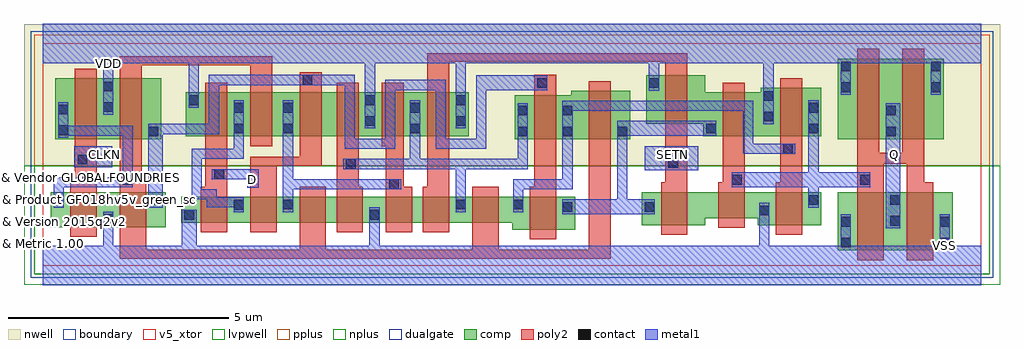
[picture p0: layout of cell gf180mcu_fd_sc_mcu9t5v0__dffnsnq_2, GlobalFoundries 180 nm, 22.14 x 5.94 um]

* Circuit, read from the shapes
.subckt gf180mcu_fd_sc_mcu9t5v0__dffnsnq_2 CLKN D Q SETN VDD VSS
XM1 VSS CLKN n1 VSUBS nfet_05v0 w=0.79u l=0.6u
XM2 n2 n1 VSS VSUBS nfet_05v0 w=0.79u l=0.6u
XM3 n3 D VSS VSUBS nfet_05v0 w=0.59u l=0.6u
XM4 n4 n2 n3 VSUBS nfet_05v0 w=0.59u l=0.6u
XM5 n5 n1 n4 VSUBS nfet_05v0 w=0.59u l=0.6u
XM6 VSS n6 n5 VSUBS nfet_05v0 w=0.59u l=0.6u
XM7 n7 n4 VSS VSUBS nfet_05v0 w=0.59u l=0.6u
XM8 n6 SETN n7 VSUBS nfet_05v0 w=0.59u l=0.6u
XM9 n8 n1 n6 VSUBS nfet_05v0 w=0.59u l=0.6u
XM10 n9 n2 n8 VSUBS nfet_05v0 w=0.75u l=0.6u
XM11 n10 SETN n9 VSUBS nfet_05v0 w=0.75u l=0.6u
XM12 VSS n11 n10 VSUBS nfet_05v0 w=0.59u l=0.6u
XM13 n11 n8 VSS VSUBS nfet_05v0 w=0.75u l=0.6u
XM14 Q n11 VSS VSUBS nfet_05v0 w=1.32u l=0.6u m=2
XM15 VDD CLKN n1 n12 pfet_05v0 w=1.38u l=0.5u
XM16 n2 n1 VDD n12 pfet_05v0 w=1.38u l=0.5u
XM17 n3 D VDD n12 pfet_05v0 w=1u l=0.5u
XM18 n4 n1 n3 n12 pfet_05v0 w=1u l=0.5u
XM19 n13 n2 n4 n12 pfet_05v0 w=1u l=0.5u
XM20 VDD n6 n13 n12 pfet_05v0 w=1u l=0.5u
XM21 n6 n4 VDD n12 pfet_05v0 w=1u l=0.5u
XM22 VDD SETN n6 n12 pfet_05v0 w=1u l=0.5u
XM23 n8 n2 n6 n12 pfet_05v0 w=1u l=0.5u
XM24 n9 n1 n8 n12 pfet_05v0 w=1.1u l=0.5u
XM25 n9 SETN VDD n12 pfet_05v0 w=1.1u l=0.5u
XM26 VDD n11 n9 n12 pfet_05v0 w=1u l=0.5u
XM27 n11 n8 VDD n12 pfet_05v0 w=1.1u l=0.5u
XM28 Q n11 VDD n12 pfet_05v0 w=1.83u l=0.5u m=2
.ends

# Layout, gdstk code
import gdstk
lib = gdstk.Library(unit=1e-6, precision=1e-09)
def R(c, l, rs):  # rectangles x0, y0, x1, y1
    for r in rs: c.add(gdstk.rectangle(r[:2], r[2:], *l))
def P(c, l, *ps):  # polygons
    for p in ps: c.add(gdstk.Polygon(p, *l))
boundary = (0, 0)
nwell = (21, 0)
comp = (22, 0)
poly2 = (30, 0)
pplus = (31, 0)
nplus = (32, 0)
contact = (33, 0)
metal1 = (34, 0)
dualgate = (55, 0)
v5_xtor = (112, 1)
lvpwell = (204, 0)

gf180mcu_fd_sc_mcu9t5v0_ = lib.new_cell('gf180mcu_fd_sc_mcu9t5v0__dffnsnq_2')
R(gf180mcu_fd_sc_mcu9t5v0_, boundary, [(0,0,21.28,5.04)])
R(gf180mcu_fd_sc_mcu9t5v0_, nwell, [(-0.43,2.265,21.71,5.47)])
R(gf180mcu_fd_sc_mcu9t5v0_, comp, [(18.035,0.345,20.635,1.665), (0.18,0.875,2.78,1.665), (0.28,2.865,2.68,4.245), (18.035,2.865,20.435,4.695), (3.24,2.93,9.66,3.93)])
P(gf180mcu_fd_sc_mcu9t5v0_, comp, [(10.64,0.815),(10.64,0.975),(3.14,0.975),(3.14,1.565),(12.08,1.565),(12.08,0.815)],
  [(10.7,2.865),(10.7,3.865),(11.98,3.865),(11.98,3.965),(13.32,3.965),(13.32,2.865)],
  [(13.58,0.915),(13.58,1.665),(17.66,1.665),(17.66,0.915),(16.22,0.915),(16.22,1.075),(15.02,1.075),(15.02,0.915)],
  [(14.98,2.93),(14.98,3.22),(13.68,3.22),(13.68,4.32),(15.02,4.32),(15.02,3.93),(16.28,3.93),(16.28,4.03),(17.66,4.03),(17.66,2.93)])
P(gf180mcu_fd_sc_mcu9t5v0_, poly2, [(0.62,0.655),(0.62,1.885),(0.72,1.885),(0.72,4.465),(1.22,4.465),(1.22,0.655)],
  [(3.58,0.755),(3.58,1.785),(3.68,1.785),(3.68,4.15),(4.18,4.15),(4.18,0.755)],
  [(4.7,0.755),(4.7,2.47),(5.82,2.47),(5.82,4.39),(6.32,4.39),(6.32,2.27),(5.3,2.27),(5.3,0.755)],
  [(6.66,0.755),(6.66,4.15),(7.16,4.15),(7.16,1.785),(7.26,1.785),(7.26,0.755)],
  [(7.78,0.755),(7.78,2.71),(7.68,2.71),(7.68,4.15),(8.18,4.15),(8.18,1.785),(8.38,1.785),(8.38,0.755)],
  [(11.04,0.595),(11.04,1.785),(11.14,1.785),(11.14,4.325),(11.64,4.325),(11.64,0.595)],
  [(1.74,0.155),(1.74,4.745),(5.2,4.745),(5.2,2.71),(4.7,2.71),(4.7,4.545),(2.24,4.545),(2.24,1.885),(2.34,1.885),(2.34,0.355),(5.82,0.355),(5.82,1.785),(6.42,1.785),(6.42,0.355),(9.74,0.355),(9.74,1.785),(10.34,1.785),(10.34,0.355),(12.38,0.355),(12.38,4.185),(12.88,4.185),(12.88,0.155)],
  [(14.02,0.695),(14.02,1.885),(14.12,1.885),(14.12,4.62),(9.22,4.62),(9.22,0.755),(8.62,0.755),(8.62,1.785),(8.72,1.785),(8.72,4.82),(14.62,4.82),(14.62,0.695)],
  [(15.32,0.855),(15.32,1.885),(15.42,1.885),(15.42,4.15),(15.92,4.15),(15.92,0.855)],
  [(16.62,0.695),(16.62,1.885),(16.72,1.885),(16.72,4.25),(17.22,4.25),(17.22,0.695)],
  [(18.475,0.125),(18.475,2.125),(18.47,2.125),(18.47,2.565),(18.475,2.565),(18.475,4.915),(18.975,4.915),(18.975,2.565),(19.495,2.565),(19.495,4.915),(19.995,4.915),(19.995,1.885),(20.195,1.885),(20.195,0.125),(19.595,0.125),(19.595,2.305),(19.075,2.305),(19.075,0.125)])
R(gf180mcu_fd_sc_mcu9t5v0_, pplus, [(-0.2,2.265,21.48,5.24)])
R(gf180mcu_fd_sc_mcu9t5v0_, nplus, [(-0.2,-0.2,21.48,2.265)])
R(gf180mcu_fd_sc_mcu9t5v0_, contact, [(18.105,0.415,18.325,0.635), (20.345,0.415,20.565,0.635), (18.105,0.885,18.325,1.105), (20.345,0.885,20.565,1.105), (19.225,0.905,19.445,1.125), (1.37,0.945,1.59,1.165), (3.21,1.045,3.43,1.265), (7.41,1.045,7.63,1.265), (16.25,1.14,16.47,1.36), (11.79,1.22,12.01,1.44), (13.65,1.22,13.87,1.44), (4.33,1.27,4.55,1.49), (5.45,1.275,5.67,1.495), (9.37,1.275,9.59,1.495), (10.67,1.275,10.89,1.495), (0.25,1.375,0.47,1.595), (2.49,1.375,2.71,1.595), (17.37,1.375,17.59,1.595), (19.225,1.375,19.445,1.595), (7.85,1.735,8.07,1.955), (1.81,1.835,2.03,2.055), (15.63,1.835,15.85,2.055), (18.545,1.835,18.765,2.055), (3.89,1.965,4.11,2.185), (6.87,2.195,7.09,2.415), (14.19,2.225,14.41,2.445), (0.79,2.295,1.01,2.515), (16.79,2.54,17.01,2.76), (2.39,2.935,2.61,3.155), (10.77,2.935,10.99,3.155), (11.79,2.935,12.01,3.155), (13.03,2.935,13.25,3.155), (19.125,2.935,19.345,3.155), (0.35,2.96,0.57,3.18), (4.33,3,4.55,3.22), (5.45,3,5.67,3.22), (8.33,3,8.55,3.22), (15.05,3,15.27,3.22), (17.37,3,17.59,3.22), (7.31,3.17,7.53,3.39), (9.37,3.17,9.59,3.39), (16.35,3.27,16.57,3.49), (10.77,3.405,10.99,3.625), (11.79,3.405,12.01,3.625), (19.125,3.405,19.345,3.625), (0.35,3.43,0.57,3.65), (4.33,3.47,4.55,3.69), (5.45,3.47,5.67,3.69), (8.33,3.47,8.55,3.69), (17.37,3.47,17.59,3.69), (1.37,3.485,1.59,3.705), (3.31,3.64,3.53,3.86), (7.31,3.64,7.53,3.86), (9.37,3.64,9.59,3.86), (16.35,3.74,16.57,3.96), (18.105,3.935,18.325,4.155), (20.145,3.935,20.365,4.155), (1.37,3.955,1.59,4.175), (13.75,4.03,13.97,4.25), (11.21,4.035,11.43,4.255), (5.89,4.1,6.11,4.32), (18.105,4.405,18.325,4.625), (20.145,4.405,20.365,4.625)])
R(gf180mcu_fd_sc_mcu9t5v0_, metal1, [(19.12,0.845,19.45,3.685), (13.655,2.165,14.86,2.71), (0.71,2.235,1.575,2.71)])
P(gf180mcu_fd_sc_mcu9t5v0_, metal1, [(0.245,1.315),(0.245,2.005),(1.805,2.005),(1.805,2.94),(0.575,2.94),(0.575,2.9),(0.345,2.9),(0.345,3.71),(0.575,3.71),(0.575,3.17),(2.035,3.17),(2.035,1.775),(0.475,1.775),(0.475,1.315)],
  [(4.325,1.21),(4.325,1.32),(3.715,1.32),(3.715,1.5),(3.37,1.5),(3.37,2.65),(4.325,2.65),(4.325,3.75),(4.555,3.75),(4.555,2.42),(3.6,2.42),(3.6,1.73),(3.94,1.73),(3.94,1.55),(4.555,1.55),(4.555,1.21)],
  [(4.63,1.77),(4.63,1.96),(3.83,1.96),(3.83,2.19),(4.89,2.19),(4.89,1.77)],
  [(5.445,1.215),(5.445,3.75),(5.675,3.75),(5.675,1.96),(8.13,1.96),(8.13,1.73),(5.675,1.73),(5.675,1.215)],
  [(9.365,1.215),(9.365,2.19),(6.81,2.19),(6.81,2.42),(8.325,2.42),(8.325,3.75),(8.555,3.75),(8.555,2.42),(10.765,2.42),(10.765,3.685),(10.995,3.685),(10.995,2.19),(9.595,2.19),(9.595,1.215)],
  [(2.385,1.315),(2.385,3.215),(3.765,3.215),(3.765,4.325),(7.075,4.325),(7.075,2.88),(7.765,2.88),(7.765,4.21),(9.135,4.21),(9.135,2.88),(9.825,2.88),(9.825,4.315),(11.435,4.315),(11.435,3.975),(10.055,3.975),(10.055,2.65),(8.905,2.65),(8.905,3.98),(7.995,3.98),(7.995,2.65),(6.845,2.65),(6.845,4.095),(3.995,4.095),(3.995,2.985),(2.715,2.985),(2.715,1.315)],
  [(11.785,1.16),(11.785,1.5),(13.025,1.5),(13.025,3.28),(15.275,3.28),(15.275,2.94),(13.255,2.94),(13.255,1.5),(13.875,1.5),(13.875,1.16)],
  [(10.665,1.215),(10.665,1.96),(11.785,1.96),(11.785,3.74),(16.115,3.74),(16.115,2.765),(17.07,2.765),(17.07,2.535),(15.885,2.535),(15.885,3.51),(12.015,3.51),(12.015,1.73),(10.895,1.73),(10.895,1.215)],
  [(17.365,1.315),(17.365,1.775),(15.625,1.775),(15.625,2.115),(17.365,2.115),(17.365,3.75),(17.595,3.75),(17.595,2.115),(18.77,2.115),(18.77,1.775),(17.595,1.775),(17.595,1.315)],
  [(0,-0.45),(0,0.45),(1.365,0.45),(1.365,1.225),(1.595,1.225),(1.595,0.45),(3.15,0.45),(3.15,1.27),(3.49,1.27),(3.49,0.45),(7.405,0.45),(7.405,1.325),(7.635,1.325),(7.635,0.45),(16.245,0.45),(16.245,1.42),(16.475,1.42),(16.475,0.45),(18.1,0.45),(18.1,1.165),(18.33,1.165),(18.33,0.45),(20.34,0.45),(20.34,1.165),(20.57,1.165),(20.57,0.45),(21.28,0.45),(21.28,-0.45)],
  [(7.305,3.11),(7.305,4.59),(3.535,4.59),(3.535,3.58),(3.305,3.58),(3.305,4.59),(1.595,4.59),(1.595,3.425),(1.365,3.425),(1.365,4.59),(0,4.59),(0,5.49),(21.28,5.49),(21.28,4.59),(20.37,4.59),(20.37,3.875),(20.14,3.875),(20.14,4.59),(18.33,4.59),(18.33,3.875),(18.1,3.875),(18.1,4.59),(16.575,4.59),(16.575,3.21),(16.345,3.21),(16.345,4.59),(13.975,4.59),(13.975,3.97),(13.745,3.97),(13.745,4.59),(9.595,4.59),(9.595,3.11),(9.365,3.11),(9.365,4.59),(7.535,4.59),(7.535,3.11)])
R(gf180mcu_fd_sc_mcu9t5v0_, dualgate, [(-0.28,-0.28,21.56,5.32)])
R(gf180mcu_fd_sc_mcu9t5v0_, v5_xtor, [(0,0,21.28,5.04)])
R(gf180mcu_fd_sc_mcu9t5v0_, lvpwell, [(-0.43,-0.43,21.71,2.265)])
gf180mcu_fd_sc_mcu9t5v0_.add(gdstk.Label('CLKN', (1.4,2.52), layer=34, texttype=10))
gf180mcu_fd_sc_mcu9t5v0_.add(gdstk.Label('D', (4.76,1.96), layer=34, texttype=10))
gf180mcu_fd_sc_mcu9t5v0_.add(gdstk.Label('Q', (19.32,2.52), layer=34, texttype=10))
gf180mcu_fd_sc_mcu9t5v0_.add(gdstk.Label('SETN', (14.28,2.52), layer=34, texttype=10))
gf180mcu_fd_sc_mcu9t5v0_.add(gdstk.Label('VDD', (1.48,4.59), layer=34, texttype=10))
gf180mcu_fd_sc_mcu9t5v0_.add(gdstk.Label('VSS', (20.455,0.45), layer=34, texttype=10))
gf180mcu_fd_sc_mcu9t5v0_.add(gdstk.Label('& Vendor GLOBALFOUNDRIES', (0,2), layer=63, texttype=63))
gf180mcu_fd_sc_mcu9t5v0_.add(gdstk.Label('& Product GF018hv5v_green_sc9', (0,1.5), layer=63, texttype=63))
gf180mcu_fd_sc_mcu9t5v0_.add(gdstk.Label('& Version 2015q2v2', (0,1), layer=63, texttype=63))
gf180mcu_fd_sc_mcu9t5v0_.add(gdstk.Label('& Metric 1.00', (0,0.5), layer=63, texttype=63))

lib.write_gds('gf180mcu_fd_sc_mcu9t5v0__dffnsnq_2.gds')
